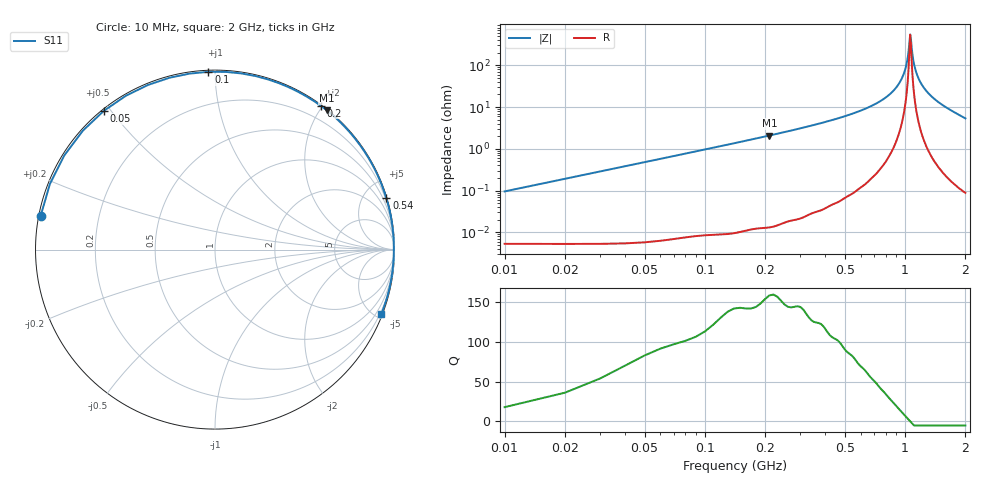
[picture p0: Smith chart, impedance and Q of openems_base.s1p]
! H_s8_cap_5: PDN loop: BGA pin field to a 0402 capacitor 5 mm away
! stackup: 8-layer 1.6 mm FR-4 (generic)
! ports: 1 IC pins
! openEMS 0.37.0, staircase, base mesh (dfine 0.07 mm), 581526 cells
# Hz S RI R 1
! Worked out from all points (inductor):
!   200 points, 10 MHz to 2 GHz, reference 1 ohm
!   read as one part to ground: L = 1.52 nH near 20 MHz
!   highest Q = 156 at 210 MHz (marker M1), where L = 1.58 nH
!   self-resonance near 1.06 GHz
!   S11 on the Smith chart (normalised r, x): 10 MHz: 0.01, +0.10; 50 MHz: 0.01, +0.48; 100 MHz: 0.01, +0.96; 200 MHz: 0.01, +1.97; 540 MHz: 0.08, +6.82; 2 GHz: 0.09, -5.35
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1e7  -0.9716 0.1875
2e7  -0.9199 0.3654
3e7  -0.8392 0.5255
4e7  -0.7366 0.6622
5e7  -0.6199 0.7727
6e7  -0.4967 0.857
7e7  -0.3731 0.9175
8e7  -0.2537 0.9575
1e8  -0.0365 0.9905
1.2e8  0.1464 0.9816
1.3e8  0.2252 0.9671
1.5e8  0.3592 0.9263
1.7e8  0.4662 0.8777
2e8  0.5887 0.8019
2.1e8  0.6217 0.777
2.6e8  0.7439 0.6614
3.1e8  0.8204 0.5648
3.6e8  0.8702 0.4847
4.3e8  0.915 0.394
5.1e8  0.9462 0.3123
5.4e8  0.9546 0.2861
6.4e8  0.974 0.2111
7.6e8  0.9869 0.1387
1.01e9  0.9962 0.0211
1.26e9  0.9933 -0.0758
1.51e9  0.9817 -0.1666
1.76e9  0.9605 -0.26
2e9  0.9271 -0.3587
